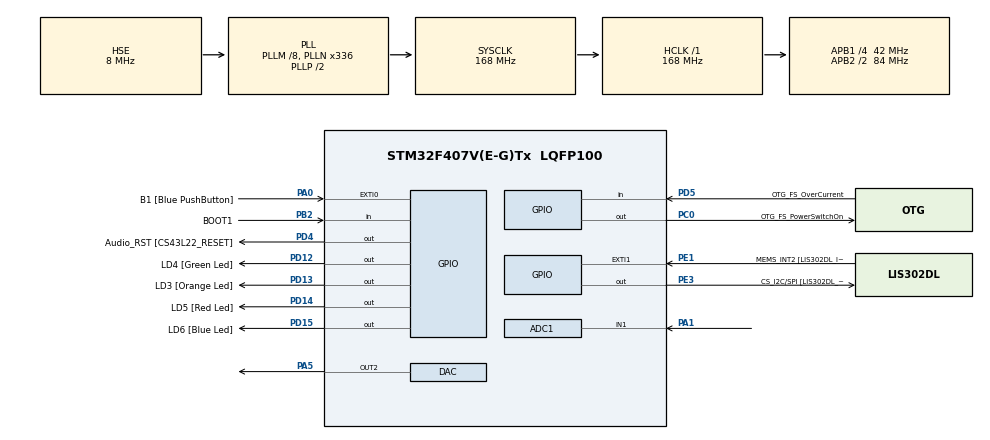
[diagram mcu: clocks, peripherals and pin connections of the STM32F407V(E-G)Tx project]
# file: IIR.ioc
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ADC1.Channel-0\#ChannelRegularConversion=ADC_CHANNEL_1
ADC1.ExternalTrigConv=ADC_EXTERNALTRIGCONV_T3_TRGO
ADC1.NbrOfConversionFlag=1
ADC1.Rank-0\#ChannelRegularConversion=1
ADC1.SamplingTime-0\#ChannelRegularConversion=ADC_SAMPLETIME_3CYCLES
ADC1.master=1
DAC.DAC_Trigger2=DAC_TRIGGER_T2_TRGO
Mcu.Family=STM32F4
Mcu.Name=STM32F407V(E-G)Tx
Mcu.Package=LQFP100
NVIC.ADC_IRQn=true\:0\:0\:false\:false\:true\:true\:true
NVIC.PriorityGroup=NVIC_PRIORITYGROUP_0
NVIC.TIM2_IRQn=true\:0\:0\:false\:false\:true\:true\:true
NVIC.TIM3_IRQn=true\:0\:0\:false\:false\:true\:true\:true
NVIC.TIM6_DAC_IRQn=true\:0\:0\:false\:false\:true\:true\:true
PA0-WKUP.GPIO_Label=B1 [Blue PushButton]
PA0-WKUP.Signal=GPXTI0
PA1.Signal=ADCx_IN1
PA10.GPIO_Label=OTG_FS_ID
PA10.GPIO_Mode=GPIO_MODE_AF_PP
PA10.GPIO_PuPd=GPIO_NOPULL
PA10.GPIO_Speed=GPIO_SPEED_FREQ_LOW
PA10.Signal=USB_OTG_FS_ID
PA11.GPIO_Label=OTG_FS_DM
PA11.GPIO_Mode=GPIO_MODE_AF_PP
PA11.GPIO_PuPd=GPIO_NOPULL
PA11.GPIO_Speed=GPIO_SPEED_FREQ_LOW
PA11.Signal=USB_OTG_FS_DM
PA12.GPIO_Label=OTG_FS_DP
PA12.GPIO_Mode=GPIO_MODE_AF_PP
PA12.GPIO_PuPd=GPIO_NOPULL
PA12.GPIO_Speed=GPIO_SPEED_FREQ_LOW
PA12.Signal=USB_OTG_FS_DP
PA13.GPIO_Label=SWDIO
PA13.Signal=SYS_JTMS-SWDIO
PA14.GPIO_Label=SWCLK
PA14.Signal=SYS_JTCK-SWCLK
PA4.GPIO_Label=I2S3_WS [CS43L22_LRCK]
PA4.GPIO_Mode=GPIO_MODE_AF_PP
PA4.GPIO_PuPd=GPIO_NOPULL
PA4.GPIO_Speed=GPIO_SPEED_FREQ_LOW
PA4.Signal=I2S3_WS
PA5.Signal=COMP_DAC2_group
PA6.GPIO_Label=SPI1_MISO [LIS302DL_SDO]
PA6.GPIO_Mode=GPIO_MODE_AF_PP
PA6.GPIO_PuPd=GPIO_NOPULL
PA6.GPIO_Speed=GPIO_SPEED_FREQ_LOW
PA6.Signal=SPI1_MISO
PA7.GPIO_Label=SPI1_MOSI [LIS302DL_SDA/SDI/SDO]
PA7.GPIO_Mode=GPIO_MODE_AF_PP
PA7.GPIO_PuPd=GPIO_NOPULL
PA7.GPIO_Speed=GPIO_SPEED_FREQ_LOW
PA7.Signal=SPI1_MOSI
PA9.GPIO_Label=VBUS_FS
PA9.GPIO_Mode=GPIO_MODE_INPUT
PA9.GPIO_PuPd=GPIO_NOPULL
PA9.Signal=USB_OTG_FS_VBUS
PB10.GPIO_Label=CLK_IN [MP45DT02_CLK]
PB10.GPIO_Mode=GPIO_MODE_AF_PP
PB10.GPIO_PuPd=GPIO_NOPULL
PB10.GPIO_Speed=GPIO_SPEED_FREQ_LOW
PB10.Signal=I2S2_CK
PB2.GPIO_Label=BOOT1
PB2.GPIO_Mode=GPIO_MODE_INPUT
PB2.GPIO_PuPd=GPIO_NOPULL
PB2.Signal=GPIO_Input
PB3.GPIO_Label=SWO
PB3.Signal=SYS_JTDO-SWO
PB6.GPIO_Label=Audio_SCL [CS43L22_SCL]
PB6.GPIO_Mode=GPIO_MODE_AF_OD
PB6.GPIO_PuPd=GPIO_NOPULL
PB6.GPIO_Speed=GPIO_SPEED_FREQ_LOW
PB6.Signal=I2C1_SCL
PB9.GPIO_Label=Audio_SDA [CS43L22_SDA]
PB9.GPIO_Mode=GPIO_MODE_AF_OD
PB9.GPIO_PuPd=GPIO_NOPULL
PB9.GPIO_Speed=GPIO_SPEED_FREQ_LOW
PB9.Signal=I2C1_SDA
PC0.GPIO_Label=OTG_FS_PowerSwitchOn
PC0.GPIO_PuPd=GPIO_NOPULL
PC0.GPIO_Speed=GPIO_SPEED_FREQ_LOW
PC0.PinState=GPIO_PIN_SET
PC0.Signal=GPIO_Output
PC10.GPIO_Label=I2S3_SCK [CS43L22_SCLK]
PC10.GPIO_Mode=GPIO_MODE_AF_PP
PC10.GPIO_PuPd=GPIO_NOPULL
PC10.GPIO_Speed=GPIO_SPEED_FREQ_LOW
PC10.Signal=I2S3_CK
PC12.GPIO_Label=I2S3_SD [CS43L22_SDIN]
PC12.GPIO_Mode=GPIO_MODE_AF_PP
PC12.GPIO_PuPd=GPIO_NOPULL
PC12.GPIO_Speed=GPIO_SPEED_FREQ_LOW
PC12.Signal=I2S3_SD
PC14-OSC32_IN.GPIO_Label=PC14-OSC32_IN
PC14-OSC32_IN.Mode=LSE-External-Oscillator
PC14-OSC32_IN.Signal=RCC_OSC32_IN
PC15-OSC32_OUT.GPIO_Label=PC15-OSC32_OUT
PC15-OSC32_OUT.Mode=LSE-External-Oscillator
PC15-OSC32_OUT.Signal=RCC_OSC32_OUT
PC3.GPIO_Label=PDM_OUT [MP45DT02_DOUT]
PC3.GPIO_Mode=GPIO_MODE_AF_PP
PC3.GPIO_PuPd=GPIO_NOPULL
PC3.GPIO_Speed=GPIO_SPEED_FREQ_LOW
PC3.Signal=I2S2_SD
PC7.GPIO_Label=I2S3_MCK [CS43L22_MCLK]
PC7.GPIO_Mode=GPIO_MODE_AF_PP
PC7.GPIO_PuPd=GPIO_NOPULL
PC7.GPIO_Speed=GPIO_SPEED_FREQ_LOW
PC7.Signal=I2S3_MCK
PD12.GPIO_Label=LD4 [Green Led]
PD12.GPIO_PuPd=GPIO_NOPULL
PD12.GPIO_Speed=GPIO_SPEED_FREQ_LOW
PD12.Signal=GPIO_Output
PD13.GPIO_Label=LD3 [Orange Led]
PD13.GPIO_PuPd=GPIO_NOPULL
PD13.GPIO_Speed=GPIO_SPEED_FREQ_LOW
PD13.Signal=GPIO_Output
PD14.GPIO_Label=LD5 [Red Led]
PD14.GPIO_PuPd=GPIO_NOPULL
PD14.GPIO_Speed=GPIO_SPEED_FREQ_LOW
PD14.Signal=GPIO_Output
PD15.GPIO_Label=LD6 [Blue Led]
PD15.GPIO_PuPd=GPIO_NOPULL
PD15.GPIO_Speed=GPIO_SPEED_FREQ_LOW
PD15.Signal=GPIO_Output
PD4.GPIO_Label=Audio_RST [CS43L22_RESET]
PD4.GPIO_PuPd=GPIO_NOPULL
PD4.GPIO_Speed=GPIO_SPEED_FREQ_LOW
PD4.Signal=GPIO_Output
PD5.GPIO_Label=OTG_FS_OverCurrent
PD5.GPIO_Mode=GPIO_MODE_INPUT
PD5.GPIO_PuPd=GPIO_NOPULL
PD5.Signal=GPIO_Input
PE1.GPIO_Label=MEMS_INT2 [LIS302DL_INT2]
PE1.GPIO_ModeDefaultEXTI=GPIO_MODE_EVT_RISING
PE1.GPIO_PuPd=GPIO_NOPULL
PE1.Signal=GPXTI1
PE3.GPIO_Label=CS_I2C/SPI [LIS302DL_CS_I2C/SPI]
PE3.GPIO_PuPd=GPIO_NOPULL
PE3.GPIO_Speed=GPIO_SPEED_FREQ_LOW
PE3.Signal=GPIO_Output
PH0-OSC_IN.GPIO_Label=PH0-OSC_IN
PH0-OSC_IN.Mode=HSE-External-Oscillator
PH0-OSC_IN.Signal=RCC_OSC_IN
PH1-OSC_OUT.GPIO_Label=PH1-OSC_OUT
PH1-OSC_OUT.Mode=HSE-External-Oscillator
PH1-OSC_OUT.Signal=RCC_OSC_OUT
ProjectManager.HeapSize=0x200
ProjectManager.StackSize=0x400
ProjectManager.TargetToolchain=STM32CubeIDE
RCC.48MHZClocksFreq_Value=48000000
RCC.AHBFreq_Value=168000000
RCC.APB1CLKDivider=RCC_HCLK_DIV4
RCC.APB1Freq_Value=42000000
RCC.APB1TimFreq_Value=84000000
RCC.APB2CLKDivider=RCC_HCLK_DIV2
RCC.APB2Freq_Value=84000000
RCC.APB2TimFreq_Value=168000000
RCC.CortexFreq_Value=168000000
RCC.HCLKFreq_Value=168000000
RCC.HSE_VALUE=8000000
RCC.HSI_VALUE=16000000
RCC.PLLM=8
RCC.PLLN=336
RCC.PLLQ=7
RCC.PLLSourceVirtual=RCC_PLLSOURCE_HSE
RCC.SYSCLKFreq_VALUE=168000000
RCC.SYSCLKSource=RCC_SYSCLKSOURCE_PLLCLK
RCC.VCOOutputFreq_Value=336000000
SH.ADCx_IN1.0=ADC1_IN1,IN1
SH.COMP_DAC2_group.0=DAC_OUT2,DAC_OUT2
TIM2.AutoReloadPreload=TIM_AUTORELOAD_PRELOAD_ENABLE
TIM2.Period=9
TIM2.Prescaler=83
TIM2.TIM_MasterOutputTrigger=TIM_TRGO_UPDATE
TIM2.TIM_MasterSlaveMode=TIM_MASTERSLAVEMODE_DISABLE
TIM3.AutoReloadPreload=TIM_AUTORELOAD_PRELOAD_ENABLE
TIM3.Period=104
TIM3.TIM_MasterOutputTrigger=TIM_TRGO_UPDATE
VP_TIM2_VS_ClockSourceINT.Mode=Internal
VP_TIM3_VS_ClockSourceINT.Mode=Internal
board=STM32F407G-DISC1

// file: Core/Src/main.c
/* USER CODE BEGIN Header */
/**
  ******************************************************************************
  * @file           : main.c
  * @brief          : Main program body
  ******************************************************************************
  * @attention
  *
  * Copyright (c) 2023 STMicroelectronics.
  * All rights reserved.
  *
  * This software is licensed under terms that can be found in the LICENSE file
  * in the root directory of this software component.
  * If no LICENSE file comes with this software, it is provided AS-IS.
  *
  ******************************************************************************
  */
/* USER CODE END Header */
#include "main.h"

/* USER CODE BEGIN PD */

//3rd low pass
#define NZEROS 3
#define NPOLES 3
#define GAIN   (float)3.430944333e+004

//2nd bandpass
/*#define NZEROS 4
#define NPOLES 4
#define GAIN   (float)4.787177042e+002*/

/* USER CODE END PD */

ADC_HandleTypeDef hadc1;

DAC_HandleTypeDef hdac;

TIM_HandleTypeDef htim2;
TIM_HandleTypeDef htim3;

void SystemClock_Config(void);
static void MX_GPIO_Init(void);
static void MX_ADC1_Init(void);
static void MX_DAC_Init(void);
static void MX_TIM2_Init(void);
static void MX_TIM3_Init(void);

/* USER CODE BEGIN 0 */

static float xv[NZEROS+1], yv[NPOLES+1];
float input = 0;
float output = 0;

void HAL_TIM_PeriodElapsedCallback(TIM_HandleTypeDef *htim)
{
	if(htim == &htim2)
	{
		//3rd low pass
		xv[0] = xv[1]; xv[1] = xv[2]; xv[2] = xv[3];
		        xv[3] = input / GAIN;
		        yv[0] = yv[1]; yv[1] = yv[2]; yv[2] = yv[3];
		        yv[3] =  (xv[0] + xv[3]) + 3 * (xv[1] + xv[2])
                     + (  0.8818931306f * yv[0]) + ( -2.7564831952f * yv[1])
                     + (  2.8743568927f * yv[2]);
		        output = yv[3];

		//2nd bandpass
		/*xv[0] = xv[1]; xv[1] = xv[2]; xv[2] = xv[3]; xv[3] = xv[4];
		        xv[4] = input / GAIN;
		        yv[0] = yv[1]; yv[1] = yv[2]; yv[2] = yv[3]; yv[3] = yv[4];
		        yv[4] =   (xv[0] + xv[4]) - 2 * xv[2]
								                     + ( -0.8752145483f * yv[0]) + (  3.6101781308f * yv[1])
								                     + ( -5.5942343734f * yv[2]) + (  3.8592561983f * yv[3]);
		        output = yv[4] + 2048;*/

		HAL_DAC_SetValue(&hdac, DAC1_CHANNEL_2, DAC_ALIGN_12B_R, output);
	}
}

void HAL_ADC_ConvCpltCallback(ADC_HandleTypeDef* hadc )
{
	input = HAL_ADC_GetValue(&hadc1);
	//amplitude = modulation / 4096;
}

/* USER CODE END 0 */

int main(void)
{

  /* MCU Configuration--------------------------------------------------------*/

  /* Reset of all peripherals, Initializes the Flash interface and the Systick. */
  HAL_Init();

  /* Configure the system clock */
  SystemClock_Config();

  /* Initialize all configured peripherals */
  MX_GPIO_Init();
  MX_ADC1_Init();
  MX_DAC_Init();
  MX_TIM2_Init();
  MX_TIM3_Init();
  /* USER CODE BEGIN 2 */

  HAL_DAC_Start(&hdac, DAC1_CHANNEL_2);
  HAL_ADC_Start_IT(&hadc1);
  HAL_TIM_Base_Start_IT(&htim2);
  HAL_TIM_Base_Start(&htim3);

  /* USER CODE END 2 */

  /* Infinite loop */
  while (1)
  {

  }
}

void SystemClock_Config(void)
{
  RCC_OscInitTypeDef RCC_OscInitStruct = {0};
  RCC_ClkInitTypeDef RCC_ClkInitStruct = {0};

  /** Configure the main internal regulator output voltage
  */
  __HAL_RCC_PWR_CLK_ENABLE();
  __HAL_PWR_VOLTAGESCALING_CONFIG(PWR_REGULATOR_VOLTAGE_SCALE1);
  /** Initializes the RCC Oscillators according to the specified parameters
  * in the RCC_OscInitTypeDef structure.
  */
  RCC_OscInitStruct.OscillatorType = RCC_OSCILLATORTYPE_HSE;
  RCC_OscInitStruct.HSEState = RCC_HSE_ON;
  RCC_OscInitStruct.PLL.PLLState = RCC_PLL_ON;
  RCC_OscInitStruct.PLL.PLLSource = RCC_PLLSOURCE_HSE;
  RCC_OscInitStruct.PLL.PLLM = 8;
  RCC_OscInitStruct.PLL.PLLN = 336;
  RCC_OscInitStruct.PLL.PLLP = RCC_PLLP_DIV2;
  RCC_OscInitStruct.PLL.PLLQ = 7;
  if (HAL_RCC_OscConfig(&RCC_OscInitStruct) != HAL_OK)
  {
    Error_Handler();
  }
  /** Initializes the CPU, AHB and APB buses clocks
  */
  RCC_ClkInitStruct.ClockType = RCC_CLOCKTYPE_HCLK|RCC_CLOCKTYPE_SYSCLK
                              |RCC_CLOCKTYPE_PCLK1|RCC_CLOCKTYPE_PCLK2;
  RCC_ClkInitStruct.SYSCLKSource = RCC_SYSCLKSOURCE_PLLCLK;
  RCC_ClkInitStruct.AHBCLKDivider = RCC_SYSCLK_DIV1;
  RCC_ClkInitStruct.APB1CLKDivider = RCC_HCLK_DIV4;
  RCC_ClkInitStruct.APB2CLKDivider = RCC_HCLK_DIV2;

  if (HAL_RCC_ClockConfig(&RCC_ClkInitStruct, FLASH_LATENCY_5) != HAL_OK)
  {
    Error_Handler();
  }
}

static void MX_ADC1_Init(void)
{

  ADC_ChannelConfTypeDef sConfig = {0};

  /** Configure the global features of the ADC (Clock, Resolution, Data Alignment and number of conversion)
  */
  hadc1.Instance = ADC1;
  hadc1.Init.ClockPrescaler = ADC_CLOCK_SYNC_PCLK_DIV4;
  hadc1.Init.Resolution = ADC_RESOLUTION_12B;
  hadc1.Init.ScanConvMode = DISABLE;
  hadc1.Init.ContinuousConvMode = DISABLE;
  hadc1.Init.DiscontinuousConvMode = DISABLE;
  hadc1.Init.ExternalTrigConvEdge = ADC_EXTERNALTRIGCONVEDGE_RISING;
  hadc1.Init.ExternalTrigConv = ADC_EXTERNALTRIGCONV_T3_TRGO;
  hadc1.Init.DataAlign = ADC_DATAALIGN_RIGHT;
  hadc1.Init.NbrOfConversion = 1;
  hadc1.Init.DMAContinuousRequests = DISABLE;
  hadc1.Init.EOCSelection = ADC_EOC_SINGLE_CONV;
  if (HAL_ADC_Init(&hadc1) != HAL_OK)
  {
    Error_Handler();
  }
  /** Configure for the selected ADC regular channel its corresponding rank in the sequencer and its sample time.
  */
  sConfig.Channel = ADC_CHANNEL_1;
  sConfig.Rank = 1;
  sConfig.SamplingTime = ADC_SAMPLETIME_3CYCLES;
  if (HAL_ADC_ConfigChannel(&hadc1, &sConfig) != HAL_OK)
  {
    Error_Handler();
  }

}

static void MX_DAC_Init(void)
{

  DAC_ChannelConfTypeDef sConfig = {0};

  /** DAC Initialization
  */
  hdac.Instance = DAC;
  if (HAL_DAC_Init(&hdac) != HAL_OK)
  {
    Error_Handler();
  }
  /** DAC channel OUT2 config
  */
  sConfig.DAC_Trigger = DAC_TRIGGER_T2_TRGO;
  sConfig.DAC_OutputBuffer = DAC_OUTPUTBUFFER_ENABLE;
  if (HAL_DAC_ConfigChannel(&hdac, &sConfig, DAC_CHANNEL_2) != HAL_OK)
  {
    Error_Handler();
  }

}

static void MX_TIM2_Init(void)
{

  TIM_ClockConfigTypeDef sClockSourceConfig = {0};
  TIM_MasterConfigTypeDef sMasterConfig = {0};

  htim2.Instance = TIM2;
  htim2.Init.Prescaler = 83;
  htim2.Init.CounterMode = TIM_COUNTERMODE_UP;
  htim2.Init.Period = 9;
  htim2.Init.ClockDivision = TIM_CLOCKDIVISION_DIV1;
  htim2.Init.AutoReloadPreload = TIM_AUTORELOAD_PRELOAD_ENABLE;
  if (HAL_TIM_Base_Init(&htim2) != HAL_OK)
  {
    Error_Handler();
  }
  sClockSourceConfig.ClockSource = TIM_CLOCKSOURCE_INTERNAL;
  if (HAL_TIM_ConfigClockSource(&htim2, &sClockSourceConfig) != HAL_OK)
  {
    Error_Handler();
  }
  sMasterConfig.MasterOutputTrigger = TIM_TRGO_UPDATE;
  sMasterConfig.MasterSlaveMode = TIM_MASTERSLAVEMODE_DISABLE;
  if (HAL_TIMEx_MasterConfigSynchronization(&htim2, &sMasterConfig) != HAL_OK)
  {
    Error_Handler();
  }

}

static void MX_TIM3_Init(void)
{

  TIM_ClockConfigTypeDef sClockSourceConfig = {0};
  TIM_MasterConfigTypeDef sMasterConfig = {0};

  htim3.Instance = TIM3;
  htim3.Init.Prescaler = 0;
  htim3.Init.CounterMode = TIM_COUNTERMODE_UP;
  htim3.Init.Period = 104;
  htim3.Init.ClockDivision = TIM_CLOCKDIVISION_DIV1;
  htim3.Init.AutoReloadPreload = TIM_AUTORELOAD_PRELOAD_ENABLE;
  if (HAL_TIM_Base_Init(&htim3) != HAL_OK)
  {
    Error_Handler();
  }
  sClockSourceConfig.ClockSource = TIM_CLOCKSOURCE_INTERNAL;
  if (HAL_TIM_ConfigClockSource(&htim3, &sClockSourceConfig) != HAL_OK)
  {
    Error_Handler();
  }
  sMasterConfig.MasterOutputTrigger = TIM_TRGO_UPDATE;
  sMasterConfig.MasterSlaveMode = TIM_MASTERSLAVEMODE_DISABLE;
  if (HAL_TIMEx_MasterConfigSynchronization(&htim3, &sMasterConfig) != HAL_OK)
  {
    Error_Handler();
  }

}

static void MX_GPIO_Init(void)
{
  GPIO_InitTypeDef GPIO_InitStruct = {0};

  /* GPIO Ports Clock Enable */
  __HAL_RCC_GPIOE_CLK_ENABLE();
  __HAL_RCC_GPIOC_CLK_ENABLE();
  __HAL_RCC_GPIOH_CLK_ENABLE();
  __HAL_RCC_GPIOA_CLK_ENABLE();
  __HAL_RCC_GPIOB_CLK_ENABLE();
  __HAL_RCC_GPIOD_CLK_ENABLE();

  /*Configure GPIO pin Output Level */
  HAL_GPIO_WritePin(CS_I2C_SPI_GPIO_Port, CS_I2C_SPI_Pin, GPIO_PIN_RESET);

  /*Configure GPIO pin Output Level */
  HAL_GPIO_WritePin(OTG_FS_PowerSwitchOn_GPIO_Port, OTG_FS_PowerSwitchOn_Pin, GPIO_PIN_SET);

  /*Configure GPIO pin Output Level */
  HAL_GPIO_WritePin(GPIOD, LD4_Pin|LD3_Pin|LD5_Pin|LD6_Pin
                          |Audio_RST_Pin, GPIO_PIN_RESET);

  /*Configure GPIO pin : CS_I2C_SPI_Pin */
  GPIO_InitStruct.Pin = CS_I2C_SPI_Pin;
  GPIO_InitStruct.Mode = GPIO_MODE_OUTPUT_PP;
  GPIO_InitStruct.Pull = GPIO_NOPULL;
  GPIO_InitStruct.Speed = GPIO_SPEED_FREQ_LOW;
  HAL_GPIO_Init(CS_I2C_SPI_GPIO_Port, &GPIO_InitStruct);

  /*Configure GPIO pin : OTG_FS_PowerSwitchOn_Pin */
  GPIO_InitStruct.Pin = OTG_FS_PowerSwitchOn_Pin;
  GPIO_InitStruct.Mode = GPIO_MODE_OUTPUT_PP;
  GPIO_InitStruct.Pull = GPIO_NOPULL;
  GPIO_InitStruct.Speed = GPIO_SPEED_FREQ_LOW;
  HAL_GPIO_Init(OTG_FS_PowerSwitchOn_GPIO_Port, &GPIO_InitStruct);

  /*Configure GPIO pin : PDM_OUT_Pin */
  GPIO_InitStruct.Pin = PDM_OUT_Pin;
  GPIO_InitStruct.Mode = GPIO_MODE_AF_PP;
  GPIO_InitStruct.Pull = GPIO_NOPULL;
  GPIO_InitStruct.Speed = GPIO_SPEED_FREQ_LOW;
  GPIO_InitStruct.Alternate = GPIO_AF5_SPI2;
  HAL_GPIO_Init(PDM_OUT_GPIO_Port, &GPIO_InitStruct);

  /*Configure GPIO pin : B1_Pin */
  GPIO_InitStruct.Pin = B1_Pin;
  GPIO_InitStruct.Mode = GPIO_MODE_IT_RISING;
  GPIO_InitStruct.Pull = GPIO_NOPULL;
  HAL_GPIO_Init(B1_GPIO_Port, &GPIO_InitStruct);

  /*Configure GPIO pin : I2S3_WS_Pin */
  GPIO_InitStruct.Pin = I2S3_WS_Pin;
  GPIO_InitStruct.Mode = GPIO_MODE_AF_PP;
  GPIO_InitStruct.Pull = GPIO_NOPULL;
  GPIO_InitStruct.Speed = GPIO_SPEED_FREQ_LOW;
  GPIO_InitStruct.Alternate = GPIO_AF6_SPI3;
  HAL_GPIO_Init(I2S3_WS_GPIO_Port, &GPIO_InitStruct);

  /*Configure GPIO pins : SPI1_MISO_Pin SPI1_MOSI_Pin */
  GPIO_InitStruct.Pin = SPI1_MISO_Pin|SPI1_MOSI_Pin;
  GPIO_InitStruct.Mode = GPIO_MODE_AF_PP;
  GPIO_InitStruct.Pull = GPIO_NOPULL;
  GPIO_InitStruct.Speed = GPIO_SPEED_FREQ_LOW;
  GPIO_InitStruct.Alternate = GPIO_AF5_SPI1;
  HAL_GPIO_Init(GPIOA, &GPIO_InitStruct);

  /*Configure GPIO pin : BOOT1_Pin */
  GPIO_InitStruct.Pin = BOOT1_Pin;
  GPIO_InitStruct.Mode = GPIO_MODE_INPUT;
  GPIO_InitStruct.Pull = GPIO_NOPULL;
  HAL_GPIO_Init(BOOT1_GPIO_Port, &GPIO_InitStruct);

  /*Configure GPIO pin : CLK_IN_Pin */
  GPIO_InitStruct.Pin = CLK_IN_Pin;
  GPIO_InitStruct.Mode = GPIO_MODE_AF_PP;
  GPIO_InitStruct.Pull = GPIO_NOPULL;
  GPIO_InitStruct.Speed = GPIO_SPEED_FREQ_LOW;
  GPIO_InitStruct.Alternate = GPIO_AF5_SPI2;
  HAL_GPIO_Init(CLK_IN_GPIO_Port, &GPIO_InitStruct);

  /*Configure GPIO pins : LD4_Pin LD3_Pin LD5_Pin LD6_Pin
                           Audio_RST_Pin */
  GPIO_InitStruct.Pin = LD4_Pin|LD3_Pin|LD5_Pin|LD6_Pin
                          |Audio_RST_Pin;
  GPIO_InitStruct.Mode = GPIO_MODE_OUTPUT_PP;
  GPIO_InitStruct.Pull = GPIO_NOPULL;
  GPIO_InitStruct.Speed = GPIO_SPEED_FREQ_LOW;
  HAL_GPIO_Init(GPIOD, &GPIO_InitStruct);

  /*Configure GPIO pins : I2S3_MCK_Pin I2S3_SCK_Pin I2S3_SD_Pin */
  GPIO_InitStruct.Pin = I2S3_MCK_Pin|I2S3_SCK_Pin|I2S3_SD_Pin;
  GPIO_InitStruct.Mode = GPIO_MODE_AF_PP;
  GPIO_InitStruct.Pull = GPIO_NOPULL;
  GPIO_InitStruct.Speed = GPIO_SPEED_FREQ_LOW;
  GPIO_InitStruct.Alternate = GPIO_AF6_SPI3;
  HAL_GPIO_Init(GPIOC, &GPIO_InitStruct);

  /*Configure GPIO pin : VBUS_FS_Pin */
  GPIO_InitStruct.Pin = VBUS_FS_Pin;
  GPIO_InitStruct.Mode = GPIO_MODE_INPUT;
  GPIO_InitStruct.Pull = GPIO_NOPULL;
  HAL_GPIO_Init(VBUS_FS_GPIO_Port, &GPIO_InitStruct);

  /*Configure GPIO pins : OTG_FS_ID_Pin OTG_FS_DM_Pin OTG_FS_DP_Pin */
  GPIO_InitStruct.Pin = OTG_FS_ID_Pin|OTG_FS_DM_Pin|OTG_FS_DP_Pin;
  GPIO_InitStruct.Mode = GPIO_MODE_AF_PP;
  GPIO_InitStruct.Pull = GPIO_NOPULL;
  GPIO_InitStruct.Speed = GPIO_SPEED_FREQ_LOW;
  GPIO_InitStruct.Alternate = GPIO_AF10_OTG_FS;
  HAL_GPIO_Init(GPIOA, &GPIO_InitStruct);

  /*Configure GPIO pin : OTG_FS_OverCurrent_Pin */
  GPIO_InitStruct.Pin = OTG_FS_OverCurrent_Pin;
  GPIO_InitStruct.Mode = GPIO_MODE_INPUT;
  GPIO_InitStruct.Pull = GPIO_NOPULL;
  HAL_GPIO_Init(OTG_FS_OverCurrent_GPIO_Port, &GPIO_InitStruct);

  /*Configure GPIO pins : Audio_SCL_Pin Audio_SDA_Pin */
  GPIO_InitStruct.Pin = Audio_SCL_Pin|Audio_SDA_Pin;
  GPIO_InitStruct.Mode = GPIO_MODE_AF_OD;
  GPIO_InitStruct.Pull = GPIO_NOPULL;
  GPIO_InitStruct.Speed = GPIO_SPEED_FREQ_LOW;
  GPIO_InitStruct.Alternate = GPIO_AF4_I2C1;
  HAL_GPIO_Init(GPIOB, &GPIO_InitStruct);

  /*Configure GPIO pin : MEMS_INT2_Pin */
  GPIO_InitStruct.Pin = MEMS_INT2_Pin;
  GPIO_InitStruct.Mode = GPIO_MODE_EVT_RISING;
  GPIO_InitStruct.Pull = GPIO_NOPULL;
  HAL_GPIO_Init(MEMS_INT2_GPIO_Port, &GPIO_InitStruct);

}

void Error_Handler(void)
{
  __disable_irq();
  while (1)
  {
  }
}
